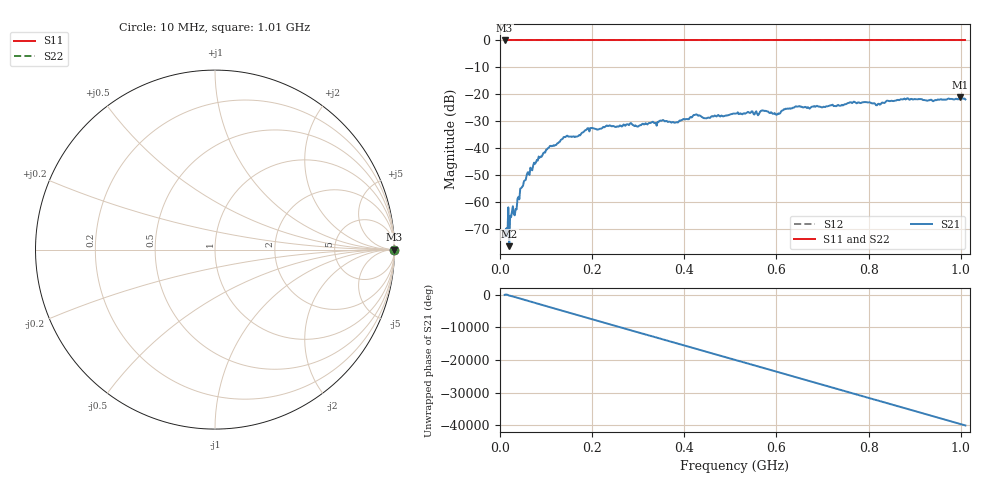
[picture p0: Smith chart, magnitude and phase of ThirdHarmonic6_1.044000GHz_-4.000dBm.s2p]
! 8/16/2025 9:06:41 AM
! C:\ANRITSUVNA\TEMP\TEMP.S2P
! CHANNEL.1
! TR.MEASUREMENT
! RAW.DATA
! RF.CORRECTION.OFF
! AVERAGING.OFF
! IF.BANDWIDTH: 5KHZ
! SWEEPTYPE:  FREQ.SWEEP(Linear)
! Reference Plane Port Info
! PORT:  PORT1  PORT2
! DISTANCE:  0  m  0  m
! TIME:  0  s  0  s
! PHASE.OFFSET:  0  deg.  0  deg.
! LOSS:  0  dB  0  dB
! REF.LOSS:  0  dB  0  dB
! REF.FREQ:  0  Hz  0  Hz
! Power Info
! POWER:  -20  dBm  -20  dBm
! EFF.POWER:  -20  dBm  -20  dBm
! SOURCE.ATTEN:  0  dB  0  dB
! TEST.ATTEN:  0  dB  0  dB
# GHZ S RI R 50.0
! FREQ.GHZ  S11RE  S11IM  S21RE  S21IM  S12RE  S12IM  S22RE  S22IM
!; PortSelection: Port_12
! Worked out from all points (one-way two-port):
!   501 points, 10 MHz to 1.01 GHz, reference 50 ohm
!   highest |S21| = -21.03 dB at 998 MHz (marker M1); lowest = -76.2 dB at 20 MHz (marker M2)
!   lowest |S11| = 0.0 dB at 10 MHz (marker M3)
!   |S11| at or under -10 dB: nowhere
!   |S22| runs from 0.0 to 0.0 dB; largest |S21 - S12| = 1.1
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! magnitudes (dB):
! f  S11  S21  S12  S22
! 10 MHz  0.0  -72.7  0.0  0.0
! 20 MHz  0.0  -76.2  0.0  0.0
! 26 MHz  0.0  -63.5  0.0  0.0
! 34 MHz  0.0  -62.5  0.0  0.0
! 48 MHz  0.0  -54.3  0.0  0.0
! 76 MHz  0.0  -45.7  0.0  0.0
! 104 MHz  0.0  -39.9  0.0  0.0
! 142 MHz  0.0  -35.8  0.0  0.0
! 178 MHz  0.0  -34.2  0.0  0.0
! 234 MHz  0.0  -31.7  0.0  0.0
! 344 MHz  0.0  -30.3  0.0  0.0
! 382 MHz  0.0  -30.3  0.0  0.0
! 424 MHz  0.0  -27.5  0.0  0.0
! 446 MHz  0.0  -28.8  0.0  0.0
! 510 MHz  0.0  -27.1  0.0  0.0
! 572 MHz  0.0  -26.0  0.0  0.0
! 602 MHz  0.0  -27.4  0.0  0.0
! 644 MHz  0.0  -24.5  0.0  0.0
! 678 MHz  0.0  -24.5  0.0  0.0
! 844 MHz  0.0  -22.5  0.0  0.0
! 998 MHz  0.0  -21.0  0.0  0.0
! 1.01 GHz  0.0  -21.8  0.0  0.0
